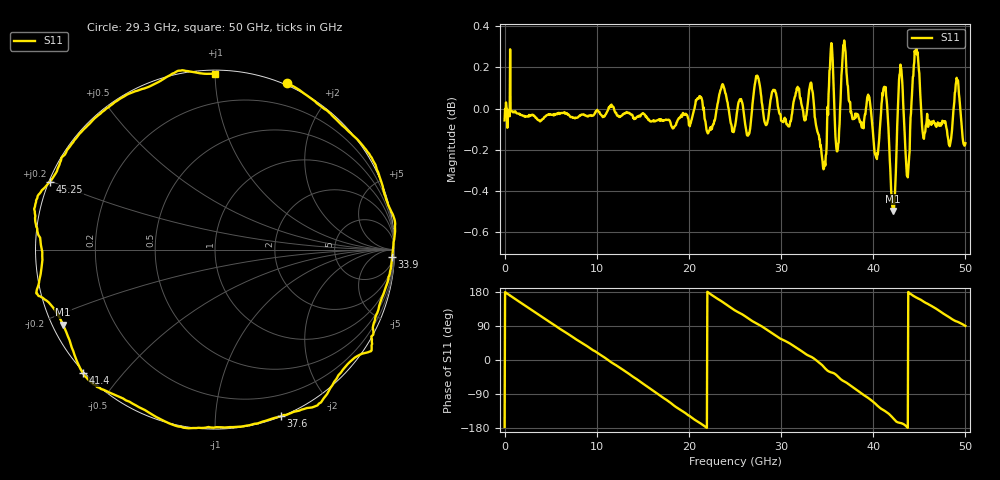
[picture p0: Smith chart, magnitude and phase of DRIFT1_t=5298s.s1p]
!Created with skrf (http://scikit-rf.org).
# Hz S RI R 50.0
!freq ReS11 ImS11
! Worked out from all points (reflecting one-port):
!   1001 points, 300 kHz to 50 GHz, reference 50 ohm
!   lowest |S11| = -0.5 dB at 42.15 GHz (marker M1), VSWR 34.97, Z = 1.51 - j11.7 ohm
!   phase of S11 starts at -177 deg and turns -814 deg over the sweep
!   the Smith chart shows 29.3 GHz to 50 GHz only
!   S11 on the Smith chart (normalised r, x): 29.3 GHz: -0.02, +1.53; 33.9 GHz: 13, -45; 37.6 GHz: 0.00, -1.47; 41.4 GHz: -0.00, -0.40; 45.25 GHz: 0.00, +0.20; 50 GHz: 0.02, +1.00
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300000  -0.9917 -0.0585
1.550291e9  -0.8992 0.4309
3.30028e9  -0.5817 0.8079
4.800271e9  -0.2008 0.9763
6.250262e9  0.1994 0.9774
9.500243e9  0.8884 0.4503
1.115023e10  0.9983 0.0231
1.250022e10  0.9339 -0.3455
1.580021e10  0.2464 -0.9619
1.73502e10  -0.2052 -0.9721
1.875019e10  -0.5915 -0.798
2.160017e10  -0.9931 -0.1226
2.350016e10  -0.921 0.4176
2.500015e10  -0.6458 0.7506
2.730014e10  -0.1247 1.011
2.930012e10  0.4036 0.9264
3.125011e10  0.7778 0.6281
3.39001e10  0.9874 -0.0407
3.520009e10  0.8736 -0.5123
3.750008e10  0.3979 -0.9214
3.760007e10  0.3687 -0.9279
3.950006e10  -0.189 -0.9873
4.140005e10  -0.7341 -0.6895
4.215005e10  -0.847 -0.4178
4.375004e10  -0.9622 -0.0145
4.525003e10  -0.9201 0.3785
4.775001e10  -0.5027 0.8555
5e10  0.0024 0.9808
